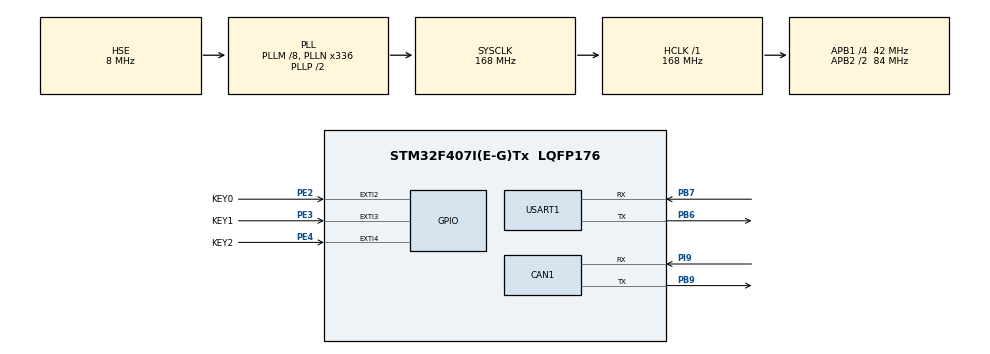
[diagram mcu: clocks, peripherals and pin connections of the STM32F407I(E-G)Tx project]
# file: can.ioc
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CAN1.CalculateTimeBit=1142
CAN1.CalculateTimeQuantum=380.95238095238096
Mcu.Family=STM32F4
Mcu.Name=STM32F407I(E-G)Tx
Mcu.Package=LQFP176
NVIC.EXTI2_IRQn=true\:1\:0\:true\:false\:true\:true
NVIC.EXTI3_IRQn=true\:1\:0\:true\:false\:true\:true
NVIC.EXTI4_IRQn=true\:1\:0\:true\:false\:true\:true
NVIC.PriorityGroup=NVIC_PRIORITYGROUP_4
PA13.Mode=Serial_Wire
PA13.Signal=SYS_JTMS-SWDIO
PA14.Mode=Serial_Wire
PA14.Signal=SYS_JTCK-SWCLK
PB6.Mode=Asynchronous
PB6.Signal=USART1_TX
PB7.Mode=Asynchronous
PB7.Signal=USART1_RX
PB9.Mode=Master
PB9.Signal=CAN1_TX
PE2.GPIO_Label=KEY0
PE2.GPIO_ModeDefaultEXTI=GPIO_MODE_IT_FALLING
PE2.GPIO_PuPd=GPIO_PULLUP
PE2.Signal=GPXTI2
PE3.GPIO_Label=KEY1
PE3.GPIO_ModeDefaultEXTI=GPIO_MODE_IT_FALLING
PE3.GPIO_PuPd=GPIO_PULLUP
PE3.Signal=GPXTI3
PE4.GPIO_Label=KEY2
PE4.GPIO_ModeDefaultEXTI=GPIO_MODE_IT_FALLING
PE4.GPIO_PuPd=GPIO_PULLUP
PE4.Signal=GPXTI4
PH0-OSC_IN.Mode=HSE-External-Oscillator
PH0-OSC_IN.Signal=RCC_OSC_IN
PH1-OSC_OUT.Mode=HSE-External-Oscillator
PH1-OSC_OUT.Signal=RCC_OSC_OUT
PI9.Mode=Master
PI9.Signal=CAN1_RX
ProjectManager.HeapSize=0x200
ProjectManager.StackSize=0x400
ProjectManager.TargetToolchain=MDK-ARM V5
RCC.48MHZClocksFreq_Value=84000000
RCC.AHBFreq_Value=168000000
RCC.APB1CLKDivider=RCC_HCLK_DIV4
RCC.APB1Freq_Value=42000000
RCC.APB1TimFreq_Value=84000000
RCC.APB2CLKDivider=RCC_HCLK_DIV2
RCC.APB2Freq_Value=84000000
RCC.APB2TimFreq_Value=168000000
RCC.CortexFreq_Value=168000000
RCC.HCLKFreq_Value=168000000
RCC.HSE_VALUE=8000000
RCC.HSI_VALUE=16000000
RCC.LSE_VALUE=32768
RCC.PLLM=8
RCC.PLLN=336
RCC.PLLSourceVirtual=RCC_PLLSOURCE_HSE
RCC.SYSCLKFreq_VALUE=168000000
RCC.SYSCLKSource=RCC_SYSCLKSOURCE_PLLCLK
RCC.VCOOutputFreq_Value=336000000
USART1.VirtualMode=VM_ASYNC
board=can

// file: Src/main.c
/**
  ******************************************************************************
  * @file           : main.c
  * @brief          : Main program body
  ******************************************************************************
  ** This notice applies to any and all portions of this file
  * that are not between comment pairs USER CODE BEGIN and
  * USER CODE END. Other portions of this file, whether
  * inserted by the user or by software development tools
  * are owned by their respective copyright owners.
  *
  * COPYRIGHT(c) 2024 STMicroelectronics
  *
  * Redistribution and use in source and binary forms, with or without modification,
  * are permitted provided that the following conditions are met:
  *   1. Redistributions of source code must retain the above copyright notice,
  *      this list of conditions and the following disclaimer.
  *   2. Redistributions in binary form must reproduce the above copyright notice,
  *      this list of conditions and the following disclaimer in the documentation
  *      and/or other materials provided with the distribution.
  *   3. Neither the name of STMicroelectronics nor the names of its contributors
  *      may be used to endorse or promote products derived from this software
  *      without specific prior written permission.
  *
  * THIS SOFTWARE IS PROVIDED BY THE COPYRIGHT HOLDERS AND CONTRIBUTORS "AS IS"
  * AND ANY EXPRESS OR IMPLIED WARRANTIES, INCLUDING, BUT NOT LIMITED TO, THE
  * IMPLIED WARRANTIES OF MERCHANTABILITY AND FITNESS FOR A PARTICULAR PURPOSE ARE
  * DISCLAIMED. IN NO EVENT SHALL THE COPYRIGHT HOLDER OR CONTRIBUTORS BE LIABLE
  * FOR ANY DIRECT, INDIRECT, INCIDENTAL, SPECIAL, EXEMPLARY, OR CONSEQUENTIAL
  * DAMAGES (INCLUDING, BUT NOT LIMITED TO, PROCUREMENT OF SUBSTITUTE GOODS OR
  * SERVICES; LOSS OF USE, DATA, OR PROFITS; OR BUSINESS INTERRUPTION) HOWEVER
  * CAUSED AND ON ANY THEORY OF LIABILITY, WHETHER IN CONTRACT, STRICT LIABILITY,
  * OR TORT (INCLUDING NEGLIGENCE OR OTHERWISE) ARISING IN ANY WAY OUT OF THE USE
  * OF THIS SOFTWARE, EVEN IF ADVISED OF THE POSSIBILITY OF SUCH DAMAGE.
  *
  ******************************************************************************
  */
#include "main.h"
#include "stm32f4xx_hal.h"

/* USER CODE BEGIN Includes */
#include "can.h"
/* USER CODE END Includes */

CAN_HandleTypeDef hcan1;

UART_HandleTypeDef huart1;

/* USER CODE BEGIN PV */
/* Private variables ---------------------------------------------------------*/
uint8_t canbuf[8];  //发送缓冲区
uint8_t res;  //发送数据的结果
uint8_t mode = 1; /* CAN工作模式: 0,正常模式; 1,环回模式 */
uint8_t rxlen = 0;  //查询接受数据返回值
uint8_t i = 0;
/* USER CODE END PV */

void SystemClock_Config(void);
static void MX_GPIO_Init(void);
static void MX_USART1_UART_Init(void);
static void MX_CAN1_Init(void);

/* USER CODE BEGIN PFP */
/* Private function prototypes -----------------------------------------------*/

/* USER CODE END PFP */

/* USER CODE BEGIN 0 */
int fputc(int ch, FILE *p)
{
    while(!(USART1->SR & (1<<7)));
    USART1->DR = ch;
    return ch;
}
/* USER CODE END 0 */

int main(void)
{

  /* MCU Configuration----------------------------------------------------------*/

  /* Reset of all peripherals, Initializes the Flash interface and the Systick. */
  HAL_Init();

  /* Configure the system clock */
  SystemClock_Config();

  /* Initialize all configured peripherals */
  MX_GPIO_Init();
  MX_USART1_UART_Init();
  MX_CAN1_Init();
  /* USER CODE BEGIN 2 */
	can_init(CAN_SJW_1TQ, CAN_BS2_6TQ, CAN_BS1_7TQ, 6, CAN_MODE_NORMAL);  /* CAN初始化, 正常模式, 波特率500Kbps  */
	//Fpclk1 / ((tbs1 + tbs2 + 1) * brp) = 84MHz/{(CAN_BS2_6TQ+CAN_BS1_7TQ+1)*6} = 500KHz
	for (i = 0; i < 8; ++i) {
		canbuf[i] = i; /* 填充发送缓冲区 */
	}
	printf("uart1 is ok!\n");
  /* USER CODE END 2 */

  /* Infinite loop */
  /* USER CODE BEGIN WHILE */
  while (1)
  {
		rxlen = can_receive_msg(0x12, canbuf); /* CAN ID = 0x12, 接收数据查询 */
		if(rxlen){
			printf("received:");
			for (i = 0; i < 8; ++i)
				printf("%d", canbuf[i]);
			printf("\n");
		}
		HAL_Delay(10);

  /* USER CODE END WHILE */

  }

}

void SystemClock_Config(void)
{

  RCC_OscInitTypeDef RCC_OscInitStruct;
  RCC_ClkInitTypeDef RCC_ClkInitStruct;

    /**Configure the main internal regulator output voltage
    */
  __HAL_RCC_PWR_CLK_ENABLE();

  __HAL_PWR_VOLTAGESCALING_CONFIG(PWR_REGULATOR_VOLTAGE_SCALE1);

    /**Initializes the CPU, AHB and APB busses clocks
    */
  RCC_OscInitStruct.OscillatorType = RCC_OSCILLATORTYPE_HSE;
  RCC_OscInitStruct.HSEState = RCC_HSE_ON;
  RCC_OscInitStruct.PLL.PLLState = RCC_PLL_ON;
  RCC_OscInitStruct.PLL.PLLSource = RCC_PLLSOURCE_HSE;
  RCC_OscInitStruct.PLL.PLLM = 8;
  RCC_OscInitStruct.PLL.PLLN = 336;
  RCC_OscInitStruct.PLL.PLLP = RCC_PLLP_DIV2;
  RCC_OscInitStruct.PLL.PLLQ = 4;
  if (HAL_RCC_OscConfig(&RCC_OscInitStruct) != HAL_OK)
  {
    _Error_Handler(__FILE__, __LINE__);
  }

    /**Initializes the CPU, AHB and APB busses clocks
    */
  RCC_ClkInitStruct.ClockType = RCC_CLOCKTYPE_HCLK|RCC_CLOCKTYPE_SYSCLK
                              |RCC_CLOCKTYPE_PCLK1|RCC_CLOCKTYPE_PCLK2;
  RCC_ClkInitStruct.SYSCLKSource = RCC_SYSCLKSOURCE_PLLCLK;
  RCC_ClkInitStruct.AHBCLKDivider = RCC_SYSCLK_DIV1;
  RCC_ClkInitStruct.APB1CLKDivider = RCC_HCLK_DIV4;
  RCC_ClkInitStruct.APB2CLKDivider = RCC_HCLK_DIV2;

  if (HAL_RCC_ClockConfig(&RCC_ClkInitStruct, FLASH_LATENCY_5) != HAL_OK)
  {
    _Error_Handler(__FILE__, __LINE__);
  }

    /**Configure the Systick interrupt time
    */
  HAL_SYSTICK_Config(HAL_RCC_GetHCLKFreq()/1000);

    /**Configure the Systick
    */
  HAL_SYSTICK_CLKSourceConfig(SYSTICK_CLKSOURCE_HCLK);

  /* SysTick_IRQn interrupt configuration */
  HAL_NVIC_SetPriority(SysTick_IRQn, 0, 0);
}

/* CAN1 init function */
static void MX_CAN1_Init(void)
{

  hcan1.Instance = CAN1;
  hcan1.Init.Prescaler = 16;
  hcan1.Init.Mode = CAN_MODE_NORMAL;
  hcan1.Init.SyncJumpWidth = CAN_SJW_1TQ;
  hcan1.Init.TimeSeg1 = CAN_BS1_1TQ;
  hcan1.Init.TimeSeg2 = CAN_BS2_1TQ;
  hcan1.Init.TimeTriggeredMode = DISABLE;
  hcan1.Init.AutoBusOff = DISABLE;
  hcan1.Init.AutoWakeUp = DISABLE;
  hcan1.Init.AutoRetransmission = DISABLE;
  hcan1.Init.ReceiveFifoLocked = DISABLE;
  hcan1.Init.TransmitFifoPriority = DISABLE;
  if (HAL_CAN_Init(&hcan1) != HAL_OK)
  {
    _Error_Handler(__FILE__, __LINE__);
  }

}

/* USART1 init function */
static void MX_USART1_UART_Init(void)
{

  huart1.Instance = USART1;
  huart1.Init.BaudRate = 115200;
  huart1.Init.WordLength = UART_WORDLENGTH_8B;
  huart1.Init.StopBits = UART_STOPBITS_1;
  huart1.Init.Parity = UART_PARITY_NONE;
  huart1.Init.Mode = UART_MODE_TX_RX;
  huart1.Init.HwFlowCtl = UART_HWCONTROL_NONE;
  huart1.Init.OverSampling = UART_OVERSAMPLING_16;
  if (HAL_UART_Init(&huart1) != HAL_OK)
  {
    _Error_Handler(__FILE__, __LINE__);
  }

}

/** Configure pins as
        * Analog
        * Input
        * Output
        * EVENT_OUT
        * EXTI
*/
static void MX_GPIO_Init(void)
{

  GPIO_InitTypeDef GPIO_InitStruct;

  /* GPIO Ports Clock Enable */
  __HAL_RCC_GPIOE_CLK_ENABLE();
  __HAL_RCC_GPIOI_CLK_ENABLE();
  __HAL_RCC_GPIOH_CLK_ENABLE();
  __HAL_RCC_GPIOA_CLK_ENABLE();
  __HAL_RCC_GPIOB_CLK_ENABLE();

  /*Configure GPIO pins : KEY0_Pin KEY1_Pin KEY2_Pin */
  GPIO_InitStruct.Pin = KEY0_Pin|KEY1_Pin|KEY2_Pin;
  GPIO_InitStruct.Mode = GPIO_MODE_IT_FALLING;
  GPIO_InitStruct.Pull = GPIO_PULLUP;
  HAL_GPIO_Init(GPIOE, &GPIO_InitStruct);

  /* EXTI interrupt init*/
  HAL_NVIC_SetPriority(EXTI2_IRQn, 1, 0);
  HAL_NVIC_EnableIRQ(EXTI2_IRQn);

  HAL_NVIC_SetPriority(EXTI3_IRQn, 1, 0);
  HAL_NVIC_EnableIRQ(EXTI3_IRQn);

  HAL_NVIC_SetPriority(EXTI4_IRQn, 1, 0);
  HAL_NVIC_EnableIRQ(EXTI4_IRQn);

}

/* USER CODE BEGIN 4 */
void HAL_GPIO_EXTI_Callback(uint16_t GPIO_Pin)  //按键中断处理函数
{
    if(GPIO_Pin == KEY0_Pin)
    {
      //KEY0是否按下
			if(GPIO_PIN_RESET == HAL_GPIO_ReadPin(KEY0_GPIO_Port, KEY0_Pin)){
				HAL_Delay(20);  //去抖动
				if(GPIO_PIN_RESET == HAL_GPIO_ReadPin(KEY0_GPIO_Port, KEY0_Pin)){
					printf("KEY0: Send data! \n");
					res = can_send_msg(0x12, canbuf, 8); /* ID = 0x12, 发送8个字节 */
					if(res){
						printf("send failed!\n");
					}else{
						printf("send successed!\n");
					}
				}
			}
    }
		if(GPIO_Pin == KEY1_Pin)
    {
      //KEY1是否按下
			if(GPIO_PIN_RESET == HAL_GPIO_ReadPin(KEY1_GPIO_Port, KEY1_Pin)){
				HAL_Delay(20);  //去抖动
				if(GPIO_PIN_RESET == HAL_GPIO_ReadPin(KEY1_GPIO_Port, KEY1_Pin)){
					printf("KEY1: Turn can1 to Loopback mode!\n");
					mode = 1;
					/* CAN初始化, 普通(0)/回环(1)模式, 波特率500Kbps */
					can_init(CAN_SJW_1TQ, CAN_BS2_6TQ, CAN_BS1_7TQ, 6, mode ? CAN_MODE_LOOPBACK : CAN_MODE_NORMAL);
				}
			}
    }
		if(GPIO_Pin == KEY2_Pin)
    {
      //KEY2是否按下
			if(GPIO_PIN_RESET == HAL_GPIO_ReadPin(KEY2_GPIO_Port, KEY2_Pin)){
				HAL_Delay(20);  //去抖动
				if(GPIO_PIN_RESET == HAL_GPIO_ReadPin(KEY2_GPIO_Port, KEY2_Pin)){
					printf("KEY1: Turn can1 to Normal mode!\n");
					mode = 0;
					/* CAN初始化, 普通(0)/回环(1)模式, 波特率500Kbps */
					can_init(CAN_SJW_1TQ, CAN_BS2_6TQ, CAN_BS1_7TQ, 6, mode ? CAN_MODE_LOOPBACK : CAN_MODE_NORMAL);
				}
			}
    }
}
/* USER CODE END 4 */

void _Error_Handler(char *file, int line)
{
  while(1)
  {
  }
}

/************************ (C) COPYRIGHT STMicroelectronics *****END OF FILE****/
